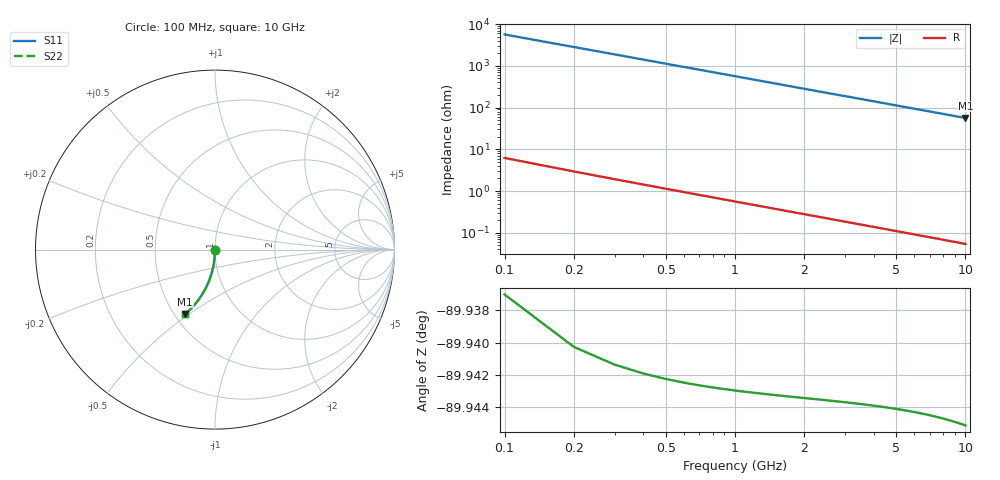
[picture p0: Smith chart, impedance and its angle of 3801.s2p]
# Hz S RI R 50.00
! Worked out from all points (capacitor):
!   100 points, 100 MHz to 10 GHz, reference 50 ohm
!   read as one part in shunt: C = 282 fF near 100 MHz
!   lowest |Z| = 56.4 ohm at 10 GHz (marker M1)
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1e8  5.32e-05 -0.0043  0.9999 -0.00455  0.9999 -0.00455  5.32e-05 -0.0043
2e8  -9.43e-06 -0.00861  0.9998 -0.00911  0.9998 -0.00911  -9.43e-06 -0.00861
3e8  -0.000111 -0.0129  0.9997 -0.0137  0.9997 -0.0137  -0.000111 -0.0129
4e8  -0.000253 -0.0172  0.9996 -0.0182  0.9996 -0.0182  -0.000253 -0.0172
5e8  -0.000433 -0.0215  0.9994 -0.0228  0.9994 -0.0228  -0.000433 -0.0215
6e8  -0.000652 -0.0258  0.9992 -0.0273  0.9992 -0.0273  -0.000652 -0.0258
7e8  -0.000911 -0.0301  0.9989 -0.0318  0.9989 -0.0318  -0.000911 -0.0301
8e8  -0.00121 -0.0344  0.9986 -0.0364  0.9986 -0.0364  -0.00121 -0.0344
9e8  -0.00155 -0.0387  0.9983 -0.0409  0.9983 -0.0409  -0.00155 -0.0387
1.1e9  -0.00233 -0.0472  0.9975 -0.05  0.9975 -0.05  -0.00233 -0.0472
1.4e9  -0.00381 -0.06  0.996 -0.0635  0.996 -0.0635  -0.00381 -0.06
1.8e9  -0.00631 -0.077  0.9935 -0.0815  0.9935 -0.0815  -0.00631 -0.077
2.1e9  -0.00859 -0.0896  0.9912 -0.0949  0.9912 -0.0949  -0.00859 -0.0896
2.5e9  -0.0121 -0.1063  0.9877 -0.1126  0.9877 -0.1126  -0.0121 -0.1063
2.9e9  -0.0163 -0.1228  0.9835 -0.1301  0.9835 -0.1301  -0.0163 -0.1228
3.4e9  -0.0223 -0.1431  0.9775 -0.1516  0.9775 -0.1516  -0.0223 -0.1431
4.2e9  -0.0336 -0.1747  0.9662 -0.1853  0.9662 -0.1853  -0.0336 -0.1747
5.1e9  -0.0488 -0.2089  0.9509 -0.2217  0.9509 -0.2217  -0.0488 -0.2089
5.9e9  -0.0643 -0.2377  0.9354 -0.2525  0.9354 -0.2525  -0.0643 -0.2377
6.7e9  -0.0815 -0.2649  0.9182 -0.2818  0.9182 -0.2818  -0.0815 -0.2649
8.4e9  -0.1227 -0.3172  0.8769 -0.3384  0.8769 -0.3384  -0.1227 -0.3172
1e10  -0.1657 -0.3589  0.8338 -0.3842  0.8338 -0.3842  -0.1657 -0.3589
